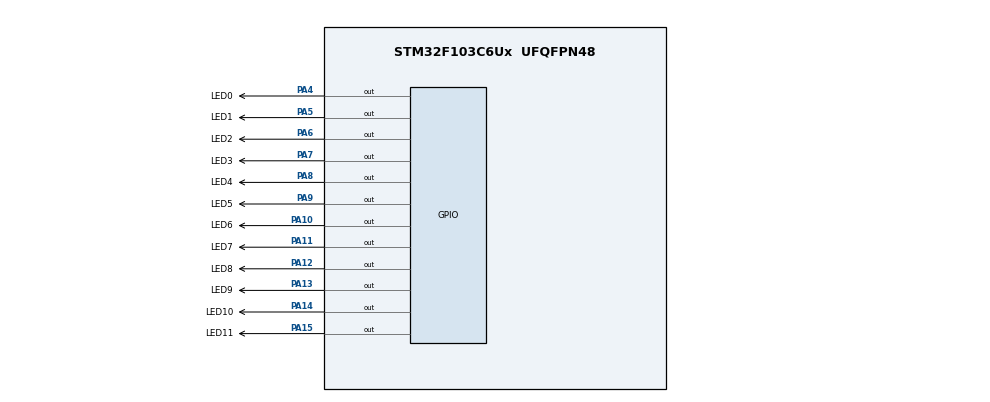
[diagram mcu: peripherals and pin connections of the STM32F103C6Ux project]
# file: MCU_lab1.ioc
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Mcu.Family=STM32F1
Mcu.Name=STM32F103C6Ux
Mcu.Package=UFQFPN48
NVIC.PriorityGroup=NVIC_PRIORITYGROUP_4
PA10.GPIO_Label=LED6
PA10.Signal=GPIO_Output
PA11.GPIO_Label=LED7
PA11.Signal=GPIO_Output
PA12.GPIO_Label=LED8
PA12.Signal=GPIO_Output
PA13.GPIO_Label=LED9
PA13.Signal=GPIO_Output
PA14.GPIO_Label=LED10
PA14.Signal=GPIO_Output
PA15.GPIO_Label=LED11
PA15.Signal=GPIO_Output
PA4.GPIO_Label=LED0
PA4.Signal=GPIO_Output
PA5.GPIO_Label=LED1
PA5.Signal=GPIO_Output
PA6.GPIO_Label=LED2
PA6.Signal=GPIO_Output
PA7.GPIO_Label=LED3
PA7.Signal=GPIO_Output
PA8.GPIO_Label=LED4
PA8.Signal=GPIO_Output
PA9.GPIO_Label=LED5
PA9.Signal=GPIO_Output
ProjectManager.HeapSize=0x200
ProjectManager.StackSize=0x400
ProjectManager.TargetToolchain=STM32CubeIDE
RCC.APB1Freq_Value=8000000
RCC.APB2Freq_Value=8000000
board=custom

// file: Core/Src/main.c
/* USER CODE BEGIN Header */
/**
  ******************************************************************************
  * @file           : main.c
  * @brief          : Main program body
  ******************************************************************************
  * @attention
  *
  * Copyright (c) 2023 STMicroelectronics.
  * All rights reserved.
  *
  * This software is licensed under terms that can be found in the LICENSE file
  * in the root directory of this software component.
  * If no LICENSE file comes with this software, it is provided AS-IS.
  *
  ******************************************************************************
  */
/* USER CODE END Header */
#include "main.h"

void SystemClock_Config(void);
static void MX_GPIO_Init(void);

int main(void)
{

  /* MCU Configuration--------------------------------------------------------*/

  /* Reset of all peripherals, Initializes the Flash interface and the Systick. */
  HAL_Init();

  /* Configure the system clock */
  SystemClock_Config();

  /* Initialize all configured peripherals */
  MX_GPIO_Init();

  /* Infinite loop */
  /* USER CODE BEGIN WHILE */
#define ON_STATE 0
#define OFF_STATE 1
  void clearAllClock(){
	  HAL_GPIO_WritePin(LED0_GPIO_Port, LED0_Pin, OFF_STATE);
	  HAL_GPIO_WritePin(LED1_GPIO_Port, LED1_Pin, OFF_STATE);
	  HAL_GPIO_WritePin(LED2_GPIO_Port, LED2_Pin, OFF_STATE);
	  HAL_GPIO_WritePin(LED3_GPIO_Port, LED3_Pin, OFF_STATE);
	  HAL_GPIO_WritePin(LED4_GPIO_Port, LED4_Pin, OFF_STATE);
	  HAL_GPIO_WritePin(LED5_GPIO_Port, LED5_Pin, OFF_STATE);
	  HAL_GPIO_WritePin(LED6_GPIO_Port, LED6_Pin, OFF_STATE);
	  HAL_GPIO_WritePin(LED7_GPIO_Port, LED7_Pin, OFF_STATE);
	  HAL_GPIO_WritePin(LED8_GPIO_Port, LED8_Pin, OFF_STATE);
	  HAL_GPIO_WritePin(LED9_GPIO_Port, LED9_Pin, OFF_STATE);
	  HAL_GPIO_WritePin(LED10_GPIO_Port, LED10_Pin, OFF_STATE);
	  HAL_GPIO_WritePin(LED11_GPIO_Port, LED11_Pin, OFF_STATE);
  }
  void setNumberOnClock(int num){
	  if(num == 0) HAL_GPIO_WritePin(LED0_GPIO_Port, LED0_Pin, ON_STATE);
	  else if(num == 1)HAL_GPIO_WritePin(LED1_GPIO_Port, LED1_Pin, ON_STATE);
	  else if(num == 2)HAL_GPIO_WritePin(LED2_GPIO_Port, LED2_Pin, ON_STATE);
	  else if(num == 3)HAL_GPIO_WritePin(LED3_GPIO_Port, LED3_Pin, ON_STATE);
	  else if(num == 4)HAL_GPIO_WritePin(LED4_GPIO_Port, LED4_Pin, ON_STATE);
	  else if(num == 5)HAL_GPIO_WritePin(LED5_GPIO_Port, LED5_Pin, ON_STATE);
	  else if(num == 6)HAL_GPIO_WritePin(LED6_GPIO_Port, LED6_Pin, ON_STATE);
	  else if(num == 7)HAL_GPIO_WritePin(LED7_GPIO_Port, LED7_Pin, ON_STATE);
	  else if(num == 8)HAL_GPIO_WritePin(LED8_GPIO_Port, LED8_Pin, ON_STATE);
	  else if(num == 9)HAL_GPIO_WritePin(LED9_GPIO_Port, LED9_Pin, ON_STATE);
	  else if(num == 10)HAL_GPIO_WritePin(LED10_GPIO_Port, LED10_Pin, ON_STATE);
	  else if(num == 11)HAL_GPIO_WritePin(LED11_GPIO_Port, LED11_Pin, ON_STATE);
  }
  void clearNumberOnClock(int num){
	  if(num == 0) HAL_GPIO_WritePin(LED0_GPIO_Port, LED0_Pin, OFF_STATE);
	  else if(num == 1)HAL_GPIO_WritePin(LED1_GPIO_Port, LED1_Pin, OFF_STATE);
	  else if(num == 2)HAL_GPIO_WritePin(LED2_GPIO_Port, LED2_Pin, OFF_STATE);
	  else if(num == 3)HAL_GPIO_WritePin(LED3_GPIO_Port, LED3_Pin, OFF_STATE);
	  else if(num == 4)HAL_GPIO_WritePin(LED4_GPIO_Port, LED4_Pin, OFF_STATE);
	  else if(num == 5)HAL_GPIO_WritePin(LED5_GPIO_Port, LED5_Pin, OFF_STATE);
	  else if(num == 6)HAL_GPIO_WritePin(LED6_GPIO_Port, LED6_Pin, OFF_STATE);
	  else if(num == 7)HAL_GPIO_WritePin(LED7_GPIO_Port, LED7_Pin, OFF_STATE);
	  else if(num == 8)HAL_GPIO_WritePin(LED8_GPIO_Port, LED8_Pin, OFF_STATE);
	  else if(num == 9)HAL_GPIO_WritePin(LED9_GPIO_Port, LED9_Pin, OFF_STATE);
	  else if(num == 10)HAL_GPIO_WritePin(LED10_GPIO_Port, LED10_Pin, OFF_STATE);
	  else if(num == 11)HAL_GPIO_WritePin(LED11_GPIO_Port, LED11_Pin, OFF_STATE);
  }
#include "software_timer.h"
#include <math.h>
  setTimer(1000);
  int sec = 0, min = 0, hour = 0;
  clearAllClock();
  setNumberOnClock(0);
  while (1)
  {
	  if(timer_flag){
		  setTimer(1000);
		  clearNumberOnClock(floor(sec++/5));
		  if(sec>=60){
			  sec = 0;
			  clearNumberOnClock(floor(min++/5));
			  if(min>=60){
				  min = 0;
				  clearNumberOnClock(hour++);
				  if(hour>=12) hour = 0;
			  }
		  }
		  setNumberOnClock(floor(sec/5));
		  setNumberOnClock(floor(min/5));
		  setNumberOnClock(hour);

	  }
	  timerRun();
	  HAL_Delay(10);

    /* USER CODE END WHILE */

  }
}

void SystemClock_Config(void)
{
  RCC_OscInitTypeDef RCC_OscInitStruct = {0};
  RCC_ClkInitTypeDef RCC_ClkInitStruct = {0};

  /** Initializes the RCC Oscillators according to the specified parameters
  * in the RCC_OscInitTypeDef structure.
  */
  RCC_OscInitStruct.OscillatorType = RCC_OSCILLATORTYPE_HSI;
  RCC_OscInitStruct.HSIState = RCC_HSI_ON;
  RCC_OscInitStruct.HSICalibrationValue = RCC_HSICALIBRATION_DEFAULT;
  RCC_OscInitStruct.PLL.PLLState = RCC_PLL_NONE;
  if (HAL_RCC_OscConfig(&RCC_OscInitStruct) != HAL_OK)
  {
    Error_Handler();
  }

  /** Initializes the CPU, AHB and APB buses clocks
  */
  RCC_ClkInitStruct.ClockType = RCC_CLOCKTYPE_HCLK|RCC_CLOCKTYPE_SYSCLK
                              |RCC_CLOCKTYPE_PCLK1|RCC_CLOCKTYPE_PCLK2;
  RCC_ClkInitStruct.SYSCLKSource = RCC_SYSCLKSOURCE_HSI;
  RCC_ClkInitStruct.AHBCLKDivider = RCC_SYSCLK_DIV1;
  RCC_ClkInitStruct.APB1CLKDivider = RCC_HCLK_DIV1;
  RCC_ClkInitStruct.APB2CLKDivider = RCC_HCLK_DIV1;

  if (HAL_RCC_ClockConfig(&RCC_ClkInitStruct, FLASH_LATENCY_0) != HAL_OK)
  {
    Error_Handler();
  }
}

static void MX_GPIO_Init(void)
{
  GPIO_InitTypeDef GPIO_InitStruct = {0};

  /* GPIO Ports Clock Enable */
  __HAL_RCC_GPIOA_CLK_ENABLE();

  /*Configure GPIO pin Output Level */
  HAL_GPIO_WritePin(GPIOA, LED0_Pin|LED1_Pin|LED2_Pin|LED3_Pin
                          |LED4_Pin|LED5_Pin|LED6_Pin|LED7_Pin
                          |LED8_Pin|LED9_Pin|LED10_Pin|LED11_Pin, GPIO_PIN_RESET);

  /*Configure GPIO pins : LED0_Pin LED1_Pin LED2_Pin LED3_Pin
                           LED4_Pin LED5_Pin LED6_Pin LED7_Pin
                           LED8_Pin LED9_Pin LED10_Pin LED11_Pin */
  GPIO_InitStruct.Pin = LED0_Pin|LED1_Pin|LED2_Pin|LED3_Pin
                          |LED4_Pin|LED5_Pin|LED6_Pin|LED7_Pin
                          |LED8_Pin|LED9_Pin|LED10_Pin|LED11_Pin;
  GPIO_InitStruct.Mode = GPIO_MODE_OUTPUT_PP;
  GPIO_InitStruct.Pull = GPIO_NOPULL;
  GPIO_InitStruct.Speed = GPIO_SPEED_FREQ_LOW;
  HAL_GPIO_Init(GPIOA, &GPIO_InitStruct);

}

void Error_Handler(void)
{
  __disable_irq();
  while (1)
  {
  }
}
